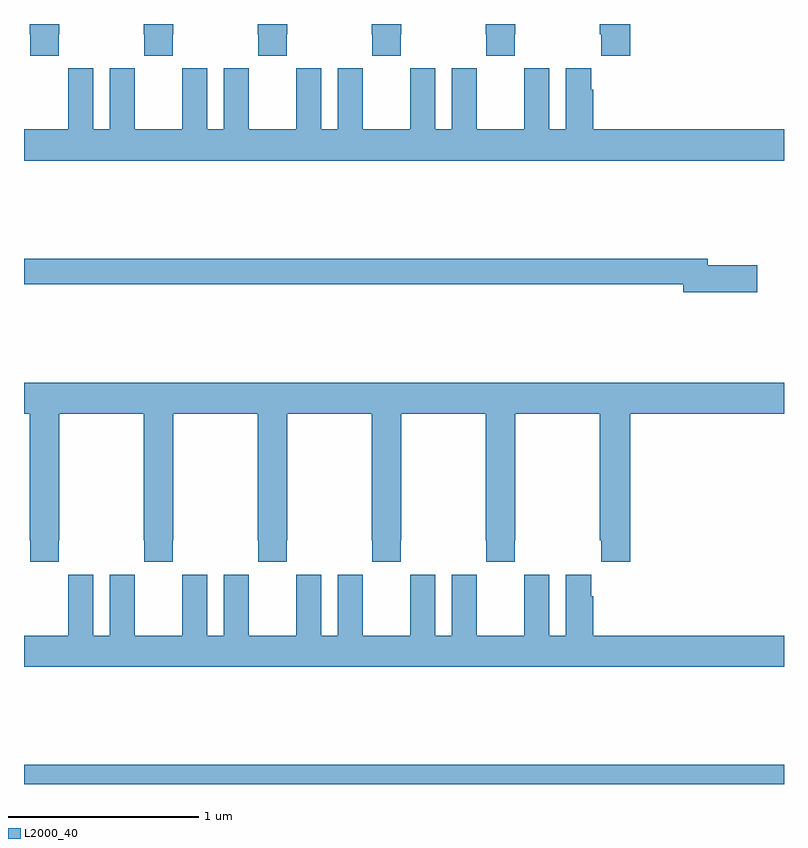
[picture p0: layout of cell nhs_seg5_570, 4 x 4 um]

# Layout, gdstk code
import gdstk
lib = gdstk.Library(unit=1e-6, precision=1e-09)
def R(c, l, rs):  # rectangles x0, y0, x1, y1
    for r in rs: c.add(gdstk.rectangle(r[:2], r[2:], *l))
def P(c, l, *ps):  # polygons
    for p in ps: c.add(gdstk.Polygon(p, *l))
L2000_40 = (2000, 40)

nhs_seg5_570 = lib.new_cell('nhs_seg5_570')
R(nhs_seg5_570, L2000_40, [(147,866.799,151,866.9)])
P(nhs_seg5_570, L2000_40, [(147.783,870.745),(147.786,870.745),(147.786,870.799),(147.631,870.799),(147.631,870.745),(147.633,870.745),(147.633,870.633),(147.783,870.633)],
  [(147.183,870.745),(147.186,870.745),(147.186,870.799),(147.031,870.799),(147.031,870.745),(147.033,870.745),(147.033,870.633),(147.183,870.633)],
  [(150.191,870.799),(150.031,870.799),(150.031,870.745),(150.037,870.745),(150.037,870.633),(150.191,870.633)],
  [(149.583,870.745),(149.586,870.745),(149.586,870.799),(149.431,870.799),(149.431,870.745),(149.433,870.745),(149.433,870.633),(149.583,870.633)],
  [(148.983,870.745),(148.986,870.745),(148.986,870.799),(148.831,870.799),(148.831,870.745),(148.833,870.745),(148.833,870.633),(148.983,870.633)],
  [(148.383,870.745),(148.386,870.745),(148.386,870.799),(148.231,870.799),(148.231,870.745),(148.233,870.745),(148.233,870.633),(148.383,870.633)],
  [(151,870.244),(149.996,870.244),(149.996,870.452),(149.986,870.452),(149.986,870.565),(149.852,870.565),(149.852,870.244),(149.764,870.244),(149.764,870.565),(149.634,870.565),(149.634,870.452),(149.633,870.452),(149.633,870.244),(149.383,870.244),(149.383,870.452),(149.382,870.452),(149.382,870.565),(149.252,870.565),(149.252,870.244),(149.164,870.244),(149.164,870.565),(149.034,870.565),(149.034,870.452),(149.033,870.452),(149.033,870.244),(148.783,870.244),(148.783,870.452),(148.782,870.452),(148.782,870.565),(148.652,870.565),(148.652,870.244),(148.564,870.244),(148.564,870.565),(148.434,870.565),(148.434,870.452),(148.433,870.452),(148.433,870.244),(148.183,870.244),(148.183,870.452),(148.182,870.452),(148.182,870.565),(148.052,870.565),(148.052,870.244),(147.964,870.244),(147.964,870.565),(147.834,870.565),(147.834,870.452),(147.833,870.452),(147.833,870.244),(147.583,870.244),(147.583,870.452),(147.582,870.452),(147.582,870.565),(147.452,870.565),(147.452,870.244),(147.364,870.244),(147.364,870.565),(147.234,870.565),(147.234,870.452),(147.233,870.452),(147.233,870.244),(147,870.244),(147,870.08),(151,870.08)],
  [(150.859,869.528),(150.598,869.528),(150.598,869.564),(147,869.564),(147,869.428),(150.47,869.428),(150.47,869.386),(150.859,869.386)],
  [(147.183,868.081),(147.186,868.081),(147.186,868.748),(147.631,868.748),(147.631,868.081),(147.633,868.081),(147.633,867.969),(147.783,867.969),(147.783,868.081),(147.786,868.081),(147.786,868.748),(148.231,868.748),(148.231,868.081),(148.233,868.081),(148.233,867.969),(148.383,867.969),(148.383,868.081),(148.386,868.081),(148.386,868.748),(148.831,868.748),(148.831,868.081),(148.833,868.081),(148.833,867.969),(148.983,867.969),(148.983,868.081),(148.986,868.081),(148.986,868.748),(149.431,868.748),(149.431,868.081),(149.433,868.081),(149.433,867.969),(149.583,867.969),(149.583,868.081),(149.586,868.081),(149.586,868.748),(150.031,868.748),(150.031,868.081),(150.037,868.081),(150.037,867.969),(150.191,867.969),(150.191,868.748),(151,868.748),(151,868.912),(147,868.912),(147,868.748),(147.031,868.748),(147.031,868.081),(147.033,868.081),(147.033,867.969),(147.183,867.969)],
  [(151,867.58),(149.996,867.58),(149.996,867.788),(149.986,867.788),(149.986,867.901),(149.852,867.901),(149.852,867.58),(149.764,867.58),(149.764,867.901),(149.634,867.901),(149.634,867.788),(149.633,867.788),(149.633,867.58),(149.383,867.58),(149.383,867.788),(149.382,867.788),(149.382,867.901),(149.252,867.901),(149.252,867.58),(149.164,867.58),(149.164,867.901),(149.034,867.901),(149.034,867.788),(149.033,867.788),(149.033,867.58),(148.783,867.58),(148.783,867.788),(148.782,867.788),(148.782,867.901),(148.652,867.901),(148.652,867.58),(148.564,867.58),(148.564,867.901),(148.434,867.901),(148.434,867.788),(148.433,867.788),(148.433,867.58),(148.183,867.58),(148.183,867.788),(148.182,867.788),(148.182,867.901),(148.052,867.901),(148.052,867.58),(147.964,867.58),(147.964,867.901),(147.834,867.901),(147.834,867.788),(147.833,867.788),(147.833,867.58),(147.583,867.58),(147.583,867.788),(147.582,867.788),(147.582,867.901),(147.452,867.901),(147.452,867.58),(147.364,867.58),(147.364,867.901),(147.234,867.901),(147.234,867.788),(147.233,867.788),(147.233,867.58),(147,867.58),(147,867.416),(151,867.416)])

lib.write_gds('nhs_seg5_570.gds')
